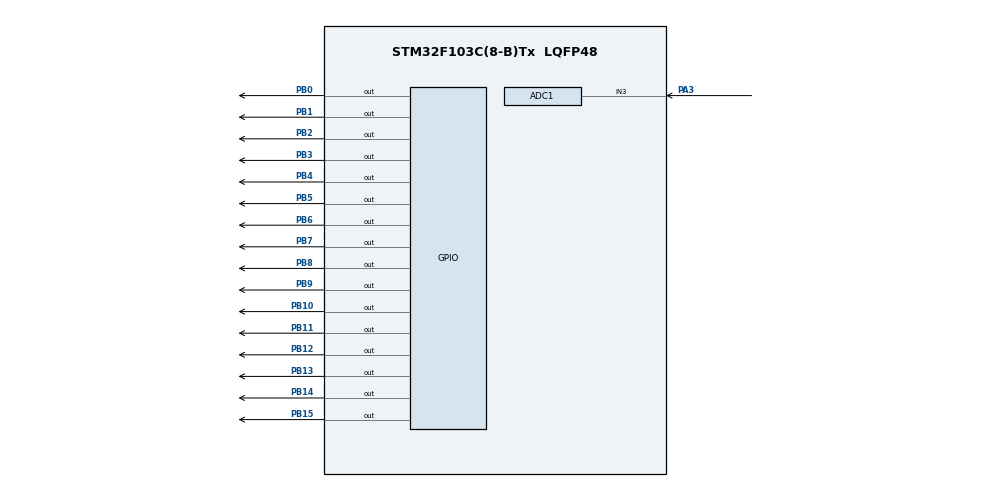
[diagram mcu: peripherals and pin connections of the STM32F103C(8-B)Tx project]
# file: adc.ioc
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ADC1.Channel-0\#ChannelRegularConversion=ADC_CHANNEL_3
ADC1.ContinuousConvMode=ENABLE
ADC1.NbrOfConversionFlag=1
ADC1.Rank-0\#ChannelRegularConversion=1
ADC1.SamplingTime-0\#ChannelRegularConversion=ADC_SAMPLETIME_1CYCLE_5
ADC1.master=1
Mcu.Family=STM32F1
Mcu.Name=STM32F103C(8-B)Tx
Mcu.Package=LQFP48
NVIC.ADC1_2_IRQn=true\:0\:0\:false\:false\:true\:true\:true\:true
NVIC.PriorityGroup=NVIC_PRIORITYGROUP_4
PA3.Signal=ADCx_IN3
PB0.Signal=GPIO_Output
PB1.Signal=GPIO_Output
PB10.Signal=GPIO_Output
PB11.Signal=GPIO_Output
PB12.Signal=GPIO_Output
PB13.Signal=GPIO_Output
PB14.Signal=GPIO_Output
PB15.Signal=GPIO_Output
PB2.Signal=GPIO_Output
PB3.Signal=GPIO_Output
PB4.Signal=GPIO_Output
PB5.Signal=GPIO_Output
PB6.Signal=GPIO_Output
PB7.Signal=GPIO_Output
PB8.Signal=GPIO_Output
PB9.Signal=GPIO_Output
ProjectManager.HeapSize=0x200
ProjectManager.StackSize=0x400
ProjectManager.TargetToolchain=MDK-ARM V5
RCC.APB1Freq_Value=8000000
RCC.APB2Freq_Value=8000000
SH.ADCx_IN3.0=ADC1_IN3,IN3
VP_SYS_VS_ND.Mode=No_Debug
board=custom

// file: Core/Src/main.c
/* USER CODE BEGIN Header */
/**
  ******************************************************************************
  * @file           : main.c
  * @brief          : Main program body
  ******************************************************************************
  * @attention
  *
  * Copyright (c) 2022 STMicroelectronics.
  * All rights reserved.
  *
  * This software is licensed under terms that can be found in the LICENSE file
  * in the root directory of this software component.
  * If no LICENSE file comes with this software, it is provided AS-IS.
  *
  ******************************************************************************
  */
/* USER CODE END Header */
#include "main.h"

ADC_HandleTypeDef hadc1;

/* USER CODE BEGIN PV */
uint32_t AD;
float dienAp;
/* USER CODE END PV */

void SystemClock_Config(void);
static void MX_GPIO_Init(void);
static void MX_ADC1_Init(void);

/* USER CODE BEGIN 0 */
void WritePort(uint16_t num) {
	HAL_GPIO_WritePin(GPIOB, GPIO_PIN_0, num & 0x0001);
	HAL_GPIO_WritePin(GPIOB, GPIO_PIN_1, num >> 1 & 0x0001);
	HAL_GPIO_WritePin(GPIOB, GPIO_PIN_2, num >> 2 & 0x0001);
	HAL_GPIO_WritePin(GPIOB, GPIO_PIN_3, num >> 3 & 0x0001);
	HAL_GPIO_WritePin(GPIOB, GPIO_PIN_4, num >> 4 & 0x0001);
	HAL_GPIO_WritePin(GPIOB, GPIO_PIN_5, num >> 5 & 0x0001);
	HAL_GPIO_WritePin(GPIOB, GPIO_PIN_6, num >> 6 & 0x0001);
	HAL_GPIO_WritePin(GPIOB, GPIO_PIN_7, num >> 7 & 0x0001);
	HAL_GPIO_WritePin(GPIOB, GPIO_PIN_8, num >> 8 & 0x0001);
	HAL_GPIO_WritePin(GPIOB, GPIO_PIN_9, num >> 9 & 0x0001);
	HAL_GPIO_WritePin(GPIOB, GPIO_PIN_10, num >> 10 & 0x0001);
	HAL_GPIO_WritePin(GPIOB, GPIO_PIN_11, num >> 11 & 0x0001);
}
/* USER CODE END 0 */

int main(void)
{

  /* MCU Configuration--------------------------------------------------------*/

  /* Reset of all peripherals, Initializes the Flash interface and the Systick. */
  HAL_Init();

  /* Configure the system clock */
  SystemClock_Config();

  /* Initialize all configured peripherals */
  MX_GPIO_Init();
  MX_ADC1_Init();
  /* USER CODE BEGIN 2 */
	HAL_ADC_Start(&hadc1);
  /* USER CODE END 2 */

  /* Infinite loop */
  while (1)
  {
		HAL_ADC_PollForConversion(&hadc1, 20);
		AD = HAL_ADC_GetValue(&hadc1);
		WritePort(AD);

		dienAp = ((float)AD * 5) / 4095;
		if(dienAp >= 0 && dienAp <= 1) {
			HAL_GPIO_WritePin(GPIOB, GPIO_PIN_12, GPIO_PIN_SET);
			HAL_GPIO_WritePin(GPIOB, GPIO_PIN_13, GPIO_PIN_RESET);
			HAL_GPIO_WritePin(GPIOB, GPIO_PIN_14, GPIO_PIN_RESET);
			HAL_GPIO_WritePin(GPIOB, GPIO_PIN_15, GPIO_PIN_RESET);
		} else if(dienAp <= 2) {
			HAL_GPIO_WritePin(GPIOB, GPIO_PIN_12, GPIO_PIN_RESET);
			HAL_GPIO_WritePin(GPIOB, GPIO_PIN_13, GPIO_PIN_SET);
			HAL_GPIO_WritePin(GPIOB, GPIO_PIN_14, GPIO_PIN_RESET);
			HAL_GPIO_WritePin(GPIOB, GPIO_PIN_15, GPIO_PIN_RESET);
		} else if(dienAp <= 3) {
			HAL_GPIO_WritePin(GPIOB, GPIO_PIN_12, GPIO_PIN_RESET);
			HAL_GPIO_WritePin(GPIOB, GPIO_PIN_13, GPIO_PIN_RESET);
			HAL_GPIO_WritePin(GPIOB, GPIO_PIN_14, GPIO_PIN_SET);
			HAL_GPIO_WritePin(GPIOB, GPIO_PIN_15, GPIO_PIN_RESET);
		} else if(dienAp <= 3.3) {
			HAL_GPIO_WritePin(GPIOB, GPIO_PIN_12, GPIO_PIN_RESET);
			HAL_GPIO_WritePin(GPIOB, GPIO_PIN_13, GPIO_PIN_RESET);
			HAL_GPIO_WritePin(GPIOB, GPIO_PIN_14, GPIO_PIN_RESET);
			HAL_GPIO_WritePin(GPIOB, GPIO_PIN_15, GPIO_PIN_SET);
		}
  }
}

void SystemClock_Config(void)
{
  RCC_OscInitTypeDef RCC_OscInitStruct = {0};
  RCC_ClkInitTypeDef RCC_ClkInitStruct = {0};
  RCC_PeriphCLKInitTypeDef PeriphClkInit = {0};

  /** Initializes the RCC Oscillators according to the specified parameters
  * in the RCC_OscInitTypeDef structure.
  */
  RCC_OscInitStruct.OscillatorType = RCC_OSCILLATORTYPE_HSI;
  RCC_OscInitStruct.HSIState = RCC_HSI_ON;
  RCC_OscInitStruct.HSICalibrationValue = RCC_HSICALIBRATION_DEFAULT;
  RCC_OscInitStruct.PLL.PLLState = RCC_PLL_NONE;
  if (HAL_RCC_OscConfig(&RCC_OscInitStruct) != HAL_OK)
  {
    Error_Handler();
  }

  /** Initializes the CPU, AHB and APB buses clocks
  */
  RCC_ClkInitStruct.ClockType = RCC_CLOCKTYPE_HCLK|RCC_CLOCKTYPE_SYSCLK
                              |RCC_CLOCKTYPE_PCLK1|RCC_CLOCKTYPE_PCLK2;
  RCC_ClkInitStruct.SYSCLKSource = RCC_SYSCLKSOURCE_HSI;
  RCC_ClkInitStruct.AHBCLKDivider = RCC_SYSCLK_DIV1;
  RCC_ClkInitStruct.APB1CLKDivider = RCC_HCLK_DIV1;
  RCC_ClkInitStruct.APB2CLKDivider = RCC_HCLK_DIV1;

  if (HAL_RCC_ClockConfig(&RCC_ClkInitStruct, FLASH_LATENCY_0) != HAL_OK)
  {
    Error_Handler();
  }
  PeriphClkInit.PeriphClockSelection = RCC_PERIPHCLK_ADC;
  PeriphClkInit.AdcClockSelection = RCC_ADCPCLK2_DIV2;
  if (HAL_RCCEx_PeriphCLKConfig(&PeriphClkInit) != HAL_OK)
  {
    Error_Handler();
  }
}

static void MX_ADC1_Init(void)
{

  ADC_ChannelConfTypeDef sConfig = {0};

  /** Common config
  */
  hadc1.Instance = ADC1;
  hadc1.Init.ScanConvMode = ADC_SCAN_DISABLE;
  hadc1.Init.ContinuousConvMode = ENABLE;
  hadc1.Init.DiscontinuousConvMode = DISABLE;
  hadc1.Init.ExternalTrigConv = ADC_SOFTWARE_START;
  hadc1.Init.DataAlign = ADC_DATAALIGN_RIGHT;
  hadc1.Init.NbrOfConversion = 1;
  if (HAL_ADC_Init(&hadc1) != HAL_OK)
  {
    Error_Handler();
  }

  /** Configure Regular Channel
  */
  sConfig.Channel = ADC_CHANNEL_3;
  sConfig.Rank = ADC_REGULAR_RANK_1;
  sConfig.SamplingTime = ADC_SAMPLETIME_1CYCLE_5;
  if (HAL_ADC_ConfigChannel(&hadc1, &sConfig) != HAL_OK)
  {
    Error_Handler();
  }

}

static void MX_GPIO_Init(void)
{
  GPIO_InitTypeDef GPIO_InitStruct = {0};

  /* GPIO Ports Clock Enable */
  __HAL_RCC_GPIOA_CLK_ENABLE();
  __HAL_RCC_GPIOB_CLK_ENABLE();

  /*Configure GPIO pin Output Level */
  HAL_GPIO_WritePin(GPIOB, GPIO_PIN_0|GPIO_PIN_1|GPIO_PIN_2|GPIO_PIN_10
                          |GPIO_PIN_11|GPIO_PIN_12|GPIO_PIN_13|GPIO_PIN_14
                          |GPIO_PIN_15|GPIO_PIN_3|GPIO_PIN_4|GPIO_PIN_5
                          |GPIO_PIN_6|GPIO_PIN_7|GPIO_PIN_8|GPIO_PIN_9, GPIO_PIN_RESET);

  /*Configure GPIO pins : PB0 PB1 PB2 PB10
                           PB11 PB12 PB13 PB14
                           PB15 PB3 PB4 PB5
                           PB6 PB7 PB8 PB9 */
  GPIO_InitStruct.Pin = GPIO_PIN_0|GPIO_PIN_1|GPIO_PIN_2|GPIO_PIN_10
                          |GPIO_PIN_11|GPIO_PIN_12|GPIO_PIN_13|GPIO_PIN_14
                          |GPIO_PIN_15|GPIO_PIN_3|GPIO_PIN_4|GPIO_PIN_5
                          |GPIO_PIN_6|GPIO_PIN_7|GPIO_PIN_8|GPIO_PIN_9;
  GPIO_InitStruct.Mode = GPIO_MODE_OUTPUT_PP;
  GPIO_InitStruct.Pull = GPIO_NOPULL;
  GPIO_InitStruct.Speed = GPIO_SPEED_FREQ_LOW;
  HAL_GPIO_Init(GPIOB, &GPIO_InitStruct);

}

void Error_Handler(void)
{
  __disable_irq();
  while (1)
  {
  }
}
